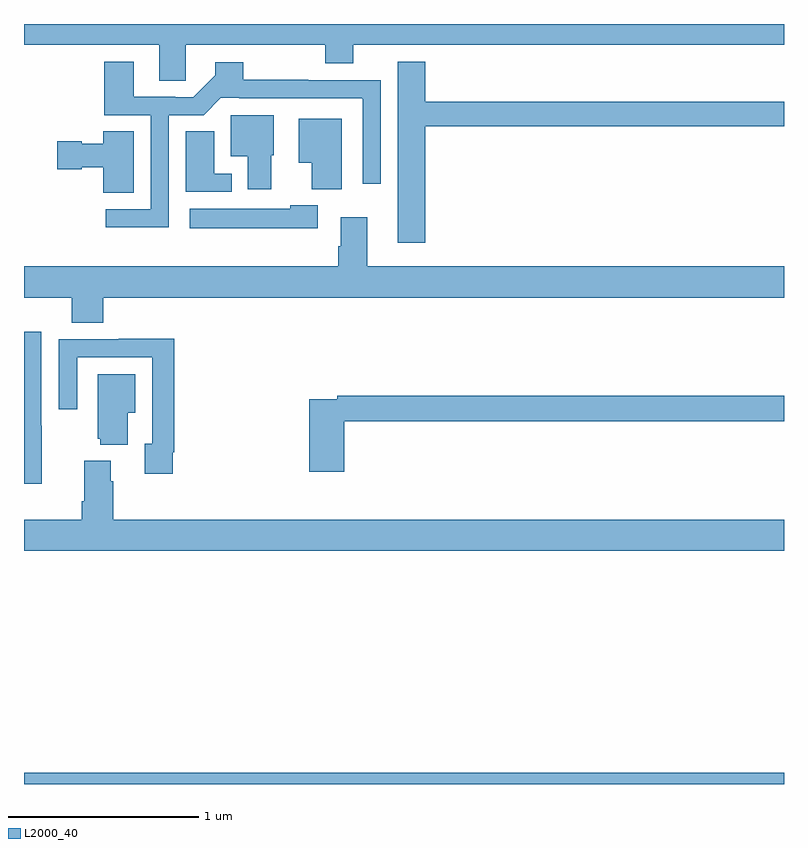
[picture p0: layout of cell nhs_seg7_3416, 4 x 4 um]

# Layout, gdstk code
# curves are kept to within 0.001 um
import gdstk
lib = gdstk.Library(unit=1e-6, precision=1e-09)
def R(c, l, rs):  # rectangles x0, y0, x1, y1
    for r in rs: c.add(gdstk.rectangle(r[:2], r[2:], *l))
def P(c, l, *ps):  # polygons
    for p in ps: c.add(gdstk.Polygon(p, *l))
L2000_40 = (2000, 40)

nhs_seg7_3416 = lib.new_cell('nhs_seg7_3416')
R(nhs_seg7_3416, L2000_40, [(327,1054,331,1054.06)])
P(nhs_seg7_3416, L2000_40, [(327.852,1057.892),(328.585,1057.892),(328.585,1057.793),(328.732,1057.793),(328.732,1057.892),(331,1057.892),(331,1058),(327,1058),(327,1057.892),(327.713,1057.892),(327.713,1057.702),(327.852,1057.702)],
  [(327.762,1057.521),(327.946,1057.521),(328.036,1057.611),(328.132,1057.611),(328.132,1057.608),(328.781,1057.608),(328.782,1057.158),(328.878,1057.158),(328.878,1057.704),(328.496,1057.704),(328.496,1057.706),(328.155,1057.706),(328.155,1057.798),(328.007,1057.798),(328.007,1057.73),(327.891,1057.614),(327.797,1057.614),(327.797,1057.617),(327.577,1057.617),(327.577,1057.801),(327.422,1057.801),(327.422,1057.521),(327.666,1057.521),(327.666,1057.026),(327.429,1057.026),(327.429,1056.929),(327.762,1056.929)],
  [(329.111,1057.462),(331,1057.462),(331,1057.591),(329.111,1057.591),(329.111,1057.801),(328.967,1057.801),(328.967,1056.849),(329.111,1056.849)],
  [(328.3,1057.308),(328.315,1057.308),(328.315,1057.519),(328.088,1057.519),(328.088,1057.304),(328.178,1057.304),(328.178,1057.131),(328.3,1057.131)],
  [(328.672,1057.501),(328.445,1057.501),(328.445,1057.271),(328.514,1057.271),(328.514,1057.13),(328.672,1057.13)],
  [(327.577,1057.436),(327.416,1057.436),(327.416,1057.369),(327.303,1057.369),(327.303,1057.382),(327.174,1057.382),(327.174,1057.235),(327.303,1057.235),(327.303,1057.247),(327.416,1057.247),(327.416,1057.111),(327.577,1057.111)],
  [(328.093,1057.212),(328,1057.212),(328,1057.436),(327.851,1057.436),(327.851,1057.116),(328.093,1057.116)],
  [(328.546,1057.045),(328.401,1057.045),(328.401,1057.027),(327.873,1057.027),(327.873,1056.926),(328.546,1056.926)],
  [(327,1056.56),(327.251,1056.56),(327.251,1056.427),(327.416,1056.427),(327.416,1056.56),(331,1056.56),(331,1056.724),(328.807,1056.724),(328.807,1056.982),(328.667,1056.982),(328.667,1056.83),(328.655,1056.83),(328.655,1056.724),(327,1056.724)],
  [(327.093,1055.885),(327.09,1055.885),(327.09,1056.379),(327,1056.379),(327,1055.579),(327.093,1055.579)],
  [(327.784,1055.746),(327.791,1055.746),(327.791,1056.344),(327.499,1056.344),(327.499,1056.342),(327.183,1056.342),(327.183,1055.973),(327.279,1055.973),(327.279,1056.246),(327.675,1056.246),(327.675,1055.79),(327.635,1055.79),(327.635,1055.634),(327.784,1055.634)],
  [(327.547,1055.954),(327.586,1055.954),(327.586,1056.157),(327.389,1056.157),(327.389,1055.817),(327.401,1055.817),(327.401,1055.786),(327.547,1055.786)],
  [(328.685,1055.908),(331,1055.908),(331,1056.044),(328.648,1056.044),(328.648,1056.024),(328.502,1056.024),(328.502,1055.643),(328.685,1055.643)],
  [(331,1055.392),(327.47,1055.392),(327.47,1055.594),(327.457,1055.594),(327.457,1055.701),(327.317,1055.701),(327.317,1055.488),(327.305,1055.488),(327.305,1055.392),(327,1055.392),(327,1055.228),(331,1055.228)])

lib.write_gds('nhs_seg7_3416.gds')
